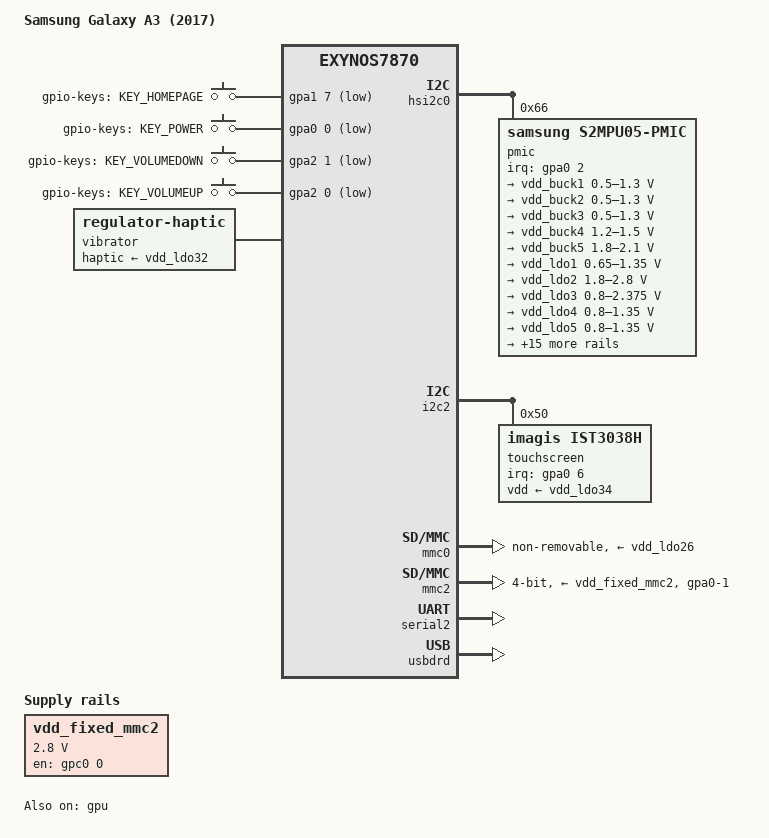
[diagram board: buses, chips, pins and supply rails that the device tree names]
// SPDX-License-Identifier: GPL-2.0
/*
 * Samsung Galaxy A3 (2017) (a3y17lte) device tree source
 *
 * Based on exynos7870-j5y17lte.dts. Board data cross-checked against the
 * vendor a3y17lte rev02/rev03 device trees.
 */

/dts-v1/;
#include "exynos7870.dtsi"
#include <dt-bindings/gpio/gpio.h>
#include <dt-bindings/input/input.h>
#include <dt-bindings/interrupt-controller/irq.h>

/ {
	model = "Samsung Galaxy A3 (2017)";
	compatible = "samsung,a3y17lte", "samsung,exynos7870";
	chassis-type = "handset";

	aliases {
		mmc0 = &mmc0;
		mmc2 = &mmc2;
		serial0 = &serial0;
		serial1 = &serial1;
		serial2 = &serial2;
	};

	chosen {
		ranges;
		#address-cells = <2>;
		#size-cells = <1>;

		stdout-path = &serial2;

		/* Left running by S-Boot (s3cfb.bootloaderfb=0x67000000) */
		framebuffer@67000000 {
			compatible = "simple-framebuffer";
			reg = <0x0 0x67000000 (720 * 1280 * 4)>;
			width = <720>;
			height = <1280>;
			stride = <(720 * 4)>;
			format = "a8r8g8b8";
		};
	};

	gpio-keys {
		compatible = "gpio-keys";
		pinctrl-0 = <&key_power &key_voldown &key_volup>;
		pinctrl-names = "default";

		key-home {
			interrupt-parent = <&gpa1>;
			label = "gpio-keys: KEY_HOMEPAGE";
			gpios = <&gpa1 7 GPIO_ACTIVE_LOW>;
			linux,code = <KEY_HOMEPAGE>;
		};

		key-power {
			interrupt-parent = <&gpa0>;
			label = "gpio-keys: KEY_POWER";
			gpios = <&gpa0 0 GPIO_ACTIVE_LOW>;
			linux,code = <KEY_POWER>;
		};

		key-voldown {
			interrupt-parent = <&gpa2>;
			label = "gpio-keys: KEY_VOLUMEDOWN";
			gpios = <&gpa2 1 GPIO_ACTIVE_LOW>;
			linux,code = <KEY_VOLUMEDOWN>;
		};

		key-volup {
			interrupt-parent = <&gpa2>;
			label = "gpio-keys: KEY_VOLUMEUP";
			gpios = <&gpa2 0 GPIO_ACTIVE_LOW>;
			linux,code = <KEY_VOLUMEUP>;
		};
	};

	memory@40000000 {
		device_type = "memory";
		reg = <0x0 0x40000000 0x3e400000>,
		      <0x0 0x80000000 0x40000000>;
	};

	vdd_fixed_mmc2: regulator-fixed-mmc2 {
		compatible = "regulator-fixed";
		regulator-name = "vdd_fixed_mmc2";
		regulator-max-microvolt = <2800000>;
		regulator-min-microvolt = <2800000>;

		gpio = <&gpc0 0 GPIO_ACTIVE_HIGH>;
		enable-active-high;
	};

	reserved-memory {
		ranges;
		#address-cells = <2>;
		#size-cells = <1>;

		/* Read back from U-Boot after a crash: "pstore display" */
		ramoops@46e00000 {
			compatible = "ramoops";
			reg = <0x0 0x46e00000 0x100000>;
			record-size = <0x20000>;
			console-size = <0x80000>;
			pmsg-size = <0x10000>;
		};

		framebuffer@67000000 {
			reg = <0x0 0x67000000 (720 * 1280 * 4)>;
			no-map;
		};

		/*
		 * Regions the stock firmware keeps away from Linux (from the
		 * vendor reserved-memory layout). Some of them may be protected
		 * by the secure world; touching those resets the board.
		 */
		tima@52a00000 {
			reg = <0x0 0x52a00000 0x200000>;
			no-map;
		};

		secure-ion@80000000 {
			reg = <0x0 0x80000000 0x9400000>;
			no-map;
		};

		mfc-fw@ae600000 {
			reg = <0x0 0xae600000 0x400000>;
			no-map;
		};

		cp-dram-init@affff000 {
			reg = <0x0 0xaffff000 0x1000>;
			no-map;
		};

		modem@b0000000 {
			reg = <0x0 0xb0000000 0x8000000>;
			no-map;
		};
	};

	vibrator {
		compatible = "regulator-haptic";
		haptic-supply = <&vdd_ldo32>;
		min-microvolt = <3325000>;
		max-microvolt = <3325000>;
	};
};

&gpu {
	status = "okay";
};

&hsi2c0 {
	status = "okay";

	pmic@66 {
		compatible = "samsung,s2mpu05-pmic";
		reg = <0x66>;

		interrupt-parent = <&gpa0>;
		interrupts = <2 IRQ_TYPE_LEVEL_LOW>;

		pinctrl-0 = <&pmic_irq>;
		pinctrl-names = "default";

		regulators {
			vdd_buck1: buck1 {
				regulator-name = "vdd_buck1";
				regulator-min-microvolt = <500000>;
				regulator-max-microvolt = <1300000>;
				regulator-ramp-delay = <12000>;
				regulator-boot-on;
				regulator-always-on;
			};

			vdd_buck2: buck2 {
				regulator-name = "vdd_buck2";
				regulator-min-microvolt = <500000>;
				regulator-max-microvolt = <1300000>;
				regulator-ramp-delay = <12000>;
				regulator-boot-on;
				regulator-always-on;
			};

			vdd_buck3: buck3 {
				regulator-name = "vdd_buck3";
				regulator-min-microvolt = <500000>;
				regulator-max-microvolt = <1300000>;
				regulator-ramp-delay = <12000>;
				regulator-boot-on;
				regulator-always-on;
			};

			vdd_buck4: buck4 {
				regulator-name = "vdd_buck4";
				regulator-min-microvolt = <1200000>;
				regulator-max-microvolt = <1500000>;
				regulator-ramp-delay = <12000>;
				regulator-boot-on;
				regulator-always-on;
			};

			vdd_buck5: buck5 {
				regulator-name = "vdd_buck5";
				regulator-min-microvolt = <1800000>;
				regulator-max-microvolt = <2100000>;
				regulator-ramp-delay = <12000>;
				regulator-boot-on;
				regulator-always-on;
			};

			vdd_ldo1: ldo1 {
				regulator-name = "vdd_ldo1";
				regulator-min-microvolt = <650000>;
				regulator-max-microvolt = <1350000>;
				regulator-ramp-delay = <12000>;
				regulator-boot-on;
				regulator-always-on;
			};

			vdd_ldo2: ldo2 {
				regulator-name = "vdd_ldo2";
				regulator-min-microvolt = <1800000>;
				regulator-max-microvolt = <2800000>;
				regulator-ramp-delay = <12000>;
			};

			vdd_ldo3: ldo3 {
				regulator-name = "vdd_ldo3";
				regulator-min-microvolt = <800000>;
				regulator-max-microvolt = <2375000>;
				regulator-ramp-delay = <12000>;
				regulator-boot-on;
				regulator-always-on;
			};

			vdd_ldo4: ldo4 {
				regulator-name = "vdd_ldo4";
				regulator-min-microvolt = <800000>;
				regulator-max-microvolt = <1350000>;
				regulator-ramp-delay = <12000>;
				regulator-boot-on;
				regulator-always-on;
			};

			vdd_ldo5: ldo5 {
				regulator-name = "vdd_ldo5";
				regulator-min-microvolt = <800000>;
				regulator-max-microvolt = <1350000>;
				regulator-ramp-delay = <12000>;
				regulator-boot-on;
				regulator-always-on;
			};

			vdd_ldo6: ldo6 {
				regulator-name = "vdd_ldo6";
				regulator-min-microvolt = <800000>;
				regulator-max-microvolt = <1350000>;
				regulator-ramp-delay = <12000>;
				regulator-boot-on;
				regulator-always-on;
			};

			vdd_ldo7: ldo7 {
				regulator-name = "vdd_ldo7";
				regulator-min-microvolt = <800000>;
				regulator-max-microvolt = <2375000>;
				regulator-ramp-delay = <12000>;
				regulator-boot-on;
				regulator-always-on;
			};

			vdd_ldo8: ldo8 {
				regulator-name = "vdd_ldo8";
				regulator-min-microvolt = <1800000>;
				regulator-max-microvolt = <3375000>;
				regulator-ramp-delay = <12000>;
			};

			vdd_ldo9: ldo9 {
				regulator-name = "vdd_ldo9";
				regulator-min-microvolt = <650000>;
				regulator-max-microvolt = <1350000>;
				regulator-ramp-delay = <12000>;
				regulator-boot-on;
				regulator-always-on;
			};

			vdd_ldo10: ldo10 {
				regulator-name = "vdd_ldo10";
				regulator-min-microvolt = <650000>;
				regulator-max-microvolt = <1350000>;
				regulator-ramp-delay = <12000>;
				regulator-boot-on;
				regulator-always-on;
			};

			vdd_ldo25: ldo25 {
				regulator-name = "vdd_ldo25";
				regulator-min-microvolt = <800000>;
				regulator-max-microvolt = <2375000>;
				regulator-ramp-delay = <12000>;
				regulator-boot-on;
				regulator-always-on;
			};

			/* eMMC core */
			vdd_ldo26: ldo26 {
				regulator-name = "vdd_ldo26";
				regulator-min-microvolt = <1800000>;
				regulator-max-microvolt = <3375000>;
				regulator-ramp-delay = <12000>;
				regulator-boot-on;
				regulator-always-on;
			};

			/* eMMC I/O */
			vdd_ldo27: ldo27 {
				regulator-name = "vdd_ldo27";
				regulator-min-microvolt = <800000>;
				regulator-max-microvolt = <2375000>;
				regulator-ramp-delay = <12000>;
				regulator-boot-on;
				regulator-always-on;
			};

			/*
			 * Panel supplies (LCD_3P0, LCD_1P8). Kept on so the
			 * S-Boot framebuffer survives until a panel driver exists.
			 */
			vdd_ldo29: ldo29 {
				regulator-name = "vdd_ldo29";
				regulator-min-microvolt = <3000000>;
				regulator-max-microvolt = <3000000>;
				regulator-boot-on;
				regulator-always-on;
			};

			vdd_ldo30: ldo30 {
				regulator-name = "vdd_ldo30";
				regulator-min-microvolt = <1800000>;
				regulator-max-microvolt = <1800000>;
				regulator-boot-on;
				regulator-always-on;
			};

			/* 2.95 V on A3 (2.8 V on J5) */
			vdd_ldo31: ldo31 {
				regulator-name = "vdd_ldo31";
				regulator-min-microvolt = <2950000>;
				regulator-max-microvolt = <2950000>;
				regulator-ramp-delay = <12000>;
				regulator-boot-on;
				regulator-always-on;
			};

			/* Vibrator motor */
			vdd_ldo32: ldo32 {
				regulator-name = "vdd_ldo32";
				regulator-min-microvolt = <3325000>;
				regulator-max-microvolt = <3325000>;
				regulator-ramp-delay = <12000>;
			};

			/* Touchscreen 3.3 V */
			vdd_ldo33: ldo33 {
				regulator-name = "vdd_ldo33";
				regulator-min-microvolt = <3300000>;
				regulator-max-microvolt = <3300000>;
				regulator-ramp-delay = <12000>;
			};

			/* Touchscreen AVDD */
			vdd_ldo34: ldo34 {
				regulator-name = "vdd_ldo34";
				regulator-min-microvolt = <3300000>;
				regulator-max-microvolt = <3300000>;
			};

			/*
			 * Camera sensor analog 2.95 V. Unlike J5 (3.3 V,
			 * always-on) this must not exceed 2.95 V.
			 */
			vdd_ldo35: ldo35 {
				regulator-name = "vdd_ldo35";
				regulator-min-microvolt = <2950000>;
				regulator-max-microvolt = <2950000>;
			};
		};
	};
};

&i2c2 {
	samsung,i2c-sda-delay = <100>;
	samsung,i2c-max-bus-freq = <400000>;

	status = "okay";

	touchscreen@50 {
		compatible = "imagis,ist3038h";
		reg = <0x50>;

		interrupt-parent = <&gpa0>;
		interrupts = <6 IRQ_TYPE_EDGE_FALLING>;

		pinctrl-0 = <&touch_irq>;
		pinctrl-names = "default";

		touchscreen-size-x = <720>;
		touchscreen-size-y = <1280>;

		vdd-supply = <&vdd_ldo34>;
	};
};

&mmc0 {
	pinctrl-0 = <&sd0_clk &sd0_cmd &sd0_rdqs &sd0_bus1 &sd0_bus4 &sd0_bus8>;
	pinctrl-names = "default";

	vmmc-supply = <&vdd_ldo26>;
	vqmmc-supply = <&vdd_ldo27>;

	fifo-depth = <64>;
	non-removable;

	samsung,dw-mshc-ciu-div = <3>;
	samsung,dw-mshc-sdr-timing = <0 4>;
	samsung,dw-mshc-ddr-timing = <2 4>;

	status = "okay";
};

/* microSD slot (hybrid SIM2/SD tray) */
&mmc2 {
	pinctrl-0 = <&sd2_clk &sd2_cmd &sd2_bus1 &sd2_bus4 &dwmmc2_irq>;
	pinctrl-names = "default";

	vmmc-supply = <&vdd_fixed_mmc2>;
	vqmmc-supply = <&vdd_ldo2>;

	bus-width = <4>;
	card-detect-delay = <200>;
	fifo-depth = <64>;
	sd-uhs-sdr50;
	sd-uhs-sdr104;
	broken-cd;
	disable-wp;

	samsung,dw-mshc-ciu-div = <3>;
	samsung,dw-mshc-sdr-timing = <0 3>;
	samsung,dw-mshc-ddr-timing = <1 2>;

	status = "okay";
};

&oscclk {
	clock-frequency = <26000000>;
};

&pinctrl_alive {
	dwmmc2_irq: dwmmc2-irq-pins {
		samsung,pins = "gpa0-1";
		samsung,pin-function = <EXYNOS_PIN_FUNC_EINT>;
		samsung,pin-pud = <EXYNOS_PIN_PULL_NONE>;
		samsung,pin-drv = <EXYNOS5433_PIN_DRV_FAST_SR1>;
	};

	key_power: key-power-pins {
		samsung,pins = "gpa0-0";
		samsung,pin-function = <EXYNOS_PIN_FUNC_EINT>;
		samsung,pin-pud = <EXYNOS_PIN_PULL_NONE>;
		samsung,pin-drv = <EXYNOS5433_PIN_DRV_FAST_SR1>;
	};

	key_voldown: key-voldown-pins {
		samsung,pins = "gpa2-1";
		samsung,pin-function = <EXYNOS_PIN_FUNC_EINT>;
		samsung,pin-pud = <EXYNOS_PIN_PULL_NONE>;
		samsung,pin-drv = <EXYNOS5433_PIN_DRV_FAST_SR1>;
	};

	key_volup: key-volup-pins {
		samsung,pins = "gpa2-0";
		samsung,pin-function = <EXYNOS_PIN_FUNC_EINT>;
		samsung,pin-pud = <EXYNOS_PIN_PULL_NONE>;
		samsung,pin-drv = <EXYNOS5433_PIN_DRV_FAST_SR1>;
	};

	pmic_irq: pmic-irq-pins {
		samsung,pins = "gpa0-2";
		samsung,pin-pud = <EXYNOS_PIN_PULL_UP>;
		samsung,pin-drv = <EXYNOS5433_PIN_DRV_FAST_SR4>;
	};

	touch_irq: touch-irq-pins {
		samsung,pins = "gpa0-6";
		samsung,pin-function = <EXYNOS_PIN_FUNC_EINT>;
		samsung,pin-pud = <EXYNOS_PIN_PULL_NONE>;
		samsung,pin-drv = <EXYNOS5433_PIN_DRV_FAST_SR1>;
	};
};

&serial2 {
	status = "okay";
};

&usbdrd {
	vdd33-supply = <&vdd_ldo8>;

	status = "okay";

	/* No USB-C (S2MU004) driver yet: stay in gadget mode for USB networking */
	usb@0 {
		role-switch-default-mode = "peripheral";
	};
};
